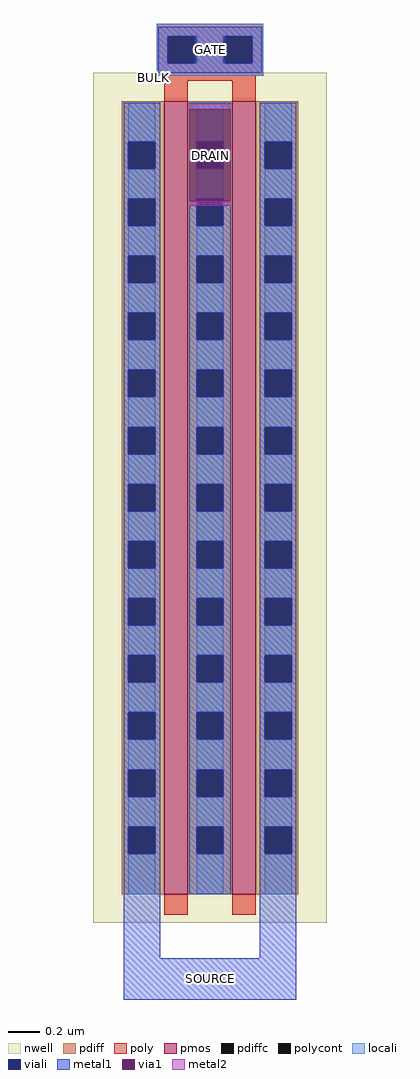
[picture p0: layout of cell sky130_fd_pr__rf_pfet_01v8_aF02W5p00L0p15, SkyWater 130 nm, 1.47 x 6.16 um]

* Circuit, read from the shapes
.subckt sky130_fd_pr__rf_pfet_01v8_aF02W5p00L0p15 BULK DRAIN GATE SOURCE
XM1 DRAIN GATE SOURCE BULK sky130_fd_pr__pfet_01v8 w=5 l=0.15 m=2
.ends

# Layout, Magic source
magic
tech sky130A
magscale 1 2
<< nwell >>
rect 0 0 294 1072
<< pmos >>
rect 89 36 119 1036
rect 175 36 205 1036
<< pdiff >>
rect 36 985 89 1036
rect 36 951 44 985
rect 78 951 89 985
rect 36 913 89 951
rect 36 879 44 913
rect 78 879 89 913
rect 36 841 89 879
rect 36 807 44 841
rect 78 807 89 841
rect 36 769 89 807
rect 36 735 44 769
rect 78 735 89 769
rect 36 697 89 735
rect 36 663 44 697
rect 78 663 89 697
rect 36 625 89 663
rect 36 591 44 625
rect 78 591 89 625
rect 36 553 89 591
rect 36 519 44 553
rect 78 519 89 553
rect 36 481 89 519
rect 36 447 44 481
rect 78 447 89 481
rect 36 409 89 447
rect 36 375 44 409
rect 78 375 89 409
rect 36 337 89 375
rect 36 303 44 337
rect 78 303 89 337
rect 36 265 89 303
rect 36 231 44 265
rect 78 231 89 265
rect 36 193 89 231
rect 36 159 44 193
rect 78 159 89 193
rect 36 121 89 159
rect 36 87 44 121
rect 78 87 89 121
rect 36 36 89 87
rect 119 985 175 1036
rect 119 951 130 985
rect 164 951 175 985
rect 119 913 175 951
rect 119 879 130 913
rect 164 879 175 913
rect 119 841 175 879
rect 119 807 130 841
rect 164 807 175 841
rect 119 769 175 807
rect 119 735 130 769
rect 164 735 175 769
rect 119 697 175 735
rect 119 663 130 697
rect 164 663 175 697
rect 119 625 175 663
rect 119 591 130 625
rect 164 591 175 625
rect 119 553 175 591
rect 119 519 130 553
rect 164 519 175 553
rect 119 481 175 519
rect 119 447 130 481
rect 164 447 175 481
rect 119 409 175 447
rect 119 375 130 409
rect 164 375 175 409
rect 119 337 175 375
rect 119 303 130 337
rect 164 303 175 337
rect 119 265 175 303
rect 119 231 130 265
rect 164 231 175 265
rect 119 193 175 231
rect 119 159 130 193
rect 164 159 175 193
rect 119 121 175 159
rect 119 87 130 121
rect 164 87 175 121
rect 119 36 175 87
rect 205 985 258 1036
rect 205 951 216 985
rect 250 951 258 985
rect 205 913 258 951
rect 205 879 216 913
rect 250 879 258 913
rect 205 841 258 879
rect 205 807 216 841
rect 250 807 258 841
rect 205 769 258 807
rect 205 735 216 769
rect 250 735 258 769
rect 205 697 258 735
rect 205 663 216 697
rect 250 663 258 697
rect 205 625 258 663
rect 205 591 216 625
rect 250 591 258 625
rect 205 553 258 591
rect 205 519 216 553
rect 250 519 258 553
rect 205 481 258 519
rect 205 447 216 481
rect 250 447 258 481
rect 205 409 258 447
rect 205 375 216 409
rect 250 375 258 409
rect 205 337 258 375
rect 205 303 216 337
rect 250 303 258 337
rect 205 265 258 303
rect 205 231 216 265
rect 250 231 258 265
rect 205 193 258 231
rect 205 159 216 193
rect 250 159 258 193
rect 205 121 258 159
rect 205 87 216 121
rect 250 87 258 121
rect 205 36 258 87
<< pdiffc >>
rect 44 951 78 985
rect 44 879 78 913
rect 44 807 78 841
rect 44 735 78 769
rect 44 663 78 697
rect 44 591 78 625
rect 44 519 78 553
rect 44 447 78 481
rect 44 375 78 409
rect 44 303 78 337
rect 44 231 78 265
rect 44 159 78 193
rect 44 87 78 121
rect 130 951 164 985
rect 130 879 164 913
rect 130 807 164 841
rect 130 735 164 769
rect 130 663 164 697
rect 130 591 164 625
rect 130 519 164 553
rect 130 447 164 481
rect 130 375 164 409
rect 130 303 164 337
rect 130 231 164 265
rect 130 159 164 193
rect 130 87 164 121
rect 216 951 250 985
rect 216 879 250 913
rect 216 807 250 841
rect 216 735 250 769
rect 216 663 250 697
rect 216 591 250 625
rect 216 519 250 553
rect 216 447 250 481
rect 216 375 250 409
rect 216 303 250 337
rect 216 231 250 265
rect 216 159 250 193
rect 216 87 250 121
<< poly >>
rect 80 1118 214 1134
rect 80 1084 96 1118
rect 130 1084 164 1118
rect 198 1084 214 1118
rect 80 1068 214 1084
rect 89 1062 205 1068
rect 89 1036 119 1062
rect 175 1036 205 1062
rect 89 10 119 36
rect 175 10 205 36
<< polycont >>
rect 96 1084 130 1118
rect 164 1084 198 1118
<< locali >>
rect 80 1118 214 1134
rect 80 1084 94 1118
rect 130 1084 164 1118
rect 200 1084 214 1118
rect 80 1068 214 1084
rect 44 985 78 1034
rect 44 913 78 951
rect 44 841 78 879
rect 44 769 78 807
rect 44 697 78 735
rect 44 625 78 663
rect 44 553 78 591
rect 44 481 78 519
rect 44 409 78 447
rect 44 337 78 375
rect 44 265 78 303
rect 44 193 78 231
rect 44 121 78 159
rect 44 36 78 87
rect 130 985 164 1034
rect 130 913 164 951
rect 130 841 164 879
rect 130 769 164 807
rect 130 697 164 735
rect 130 625 164 663
rect 130 553 164 591
rect 130 481 164 519
rect 130 409 164 447
rect 130 337 164 375
rect 130 265 164 303
rect 130 193 164 231
rect 130 121 164 159
rect 130 36 164 87
rect 216 985 250 1034
rect 216 913 250 951
rect 216 841 250 879
rect 216 769 250 807
rect 216 697 250 735
rect 216 625 250 663
rect 216 553 250 591
rect 216 481 250 519
rect 216 409 250 447
rect 216 337 250 375
rect 216 265 250 303
rect 216 193 250 231
rect 216 121 250 159
rect 216 36 250 87
<< viali >>
rect 94 1084 96 1118
rect 96 1084 128 1118
rect 166 1084 198 1118
rect 198 1084 200 1118
rect 44 951 78 985
rect 44 879 78 913
rect 44 807 78 841
rect 44 735 78 769
rect 44 663 78 697
rect 44 591 78 625
rect 44 519 78 553
rect 44 447 78 481
rect 44 375 78 409
rect 44 303 78 337
rect 44 231 78 265
rect 44 159 78 193
rect 44 87 78 121
rect 130 951 164 985
rect 130 879 164 913
rect 130 807 164 841
rect 130 735 164 769
rect 130 663 164 697
rect 130 591 164 625
rect 130 519 164 553
rect 130 447 164 481
rect 130 375 164 409
rect 130 303 164 337
rect 130 231 164 265
rect 130 159 164 193
rect 130 87 164 121
rect 216 951 250 985
rect 216 879 250 913
rect 216 807 250 841
rect 216 735 250 769
rect 216 663 250 697
rect 216 591 250 625
rect 216 519 250 553
rect 216 447 250 481
rect 216 375 250 409
rect 216 303 250 337
rect 216 231 250 265
rect 216 159 250 193
rect 216 87 250 121
<< metal1 >>
rect 82 1118 212 1130
rect 82 1084 94 1118
rect 128 1084 166 1118
rect 200 1084 212 1118
rect 82 1072 212 1084
rect 38 985 84 1034
rect 38 951 44 985
rect 78 951 84 985
rect 38 913 84 951
rect 38 879 44 913
rect 78 879 84 913
rect 38 841 84 879
rect 38 807 44 841
rect 78 807 84 841
rect 38 769 84 807
rect 38 735 44 769
rect 78 735 84 769
rect 38 697 84 735
rect 38 663 44 697
rect 78 663 84 697
rect 38 625 84 663
rect 38 591 44 625
rect 78 591 84 625
rect 38 553 84 591
rect 38 519 44 553
rect 78 519 84 553
rect 38 481 84 519
rect 38 447 44 481
rect 78 447 84 481
rect 38 409 84 447
rect 38 375 44 409
rect 78 375 84 409
rect 38 337 84 375
rect 38 303 44 337
rect 78 303 84 337
rect 38 265 84 303
rect 38 231 44 265
rect 78 231 84 265
rect 38 193 84 231
rect 38 159 44 193
rect 78 159 84 193
rect 38 121 84 159
rect 38 87 44 121
rect 78 87 84 121
rect 38 -45 84 87
rect 121 1026 173 1034
rect 121 962 130 974
rect 164 962 173 974
rect 121 879 130 910
rect 164 879 173 910
rect 121 841 173 879
rect 121 807 130 841
rect 164 807 173 841
rect 121 769 173 807
rect 121 735 130 769
rect 164 735 173 769
rect 121 697 173 735
rect 121 663 130 697
rect 164 663 173 697
rect 121 625 173 663
rect 121 591 130 625
rect 164 591 173 625
rect 121 553 173 591
rect 121 519 130 553
rect 164 519 173 553
rect 121 481 173 519
rect 121 447 130 481
rect 164 447 173 481
rect 121 409 173 447
rect 121 375 130 409
rect 164 375 173 409
rect 121 337 173 375
rect 121 303 130 337
rect 164 303 173 337
rect 121 265 173 303
rect 121 231 130 265
rect 164 231 173 265
rect 121 193 173 231
rect 121 159 130 193
rect 164 159 173 193
rect 121 121 173 159
rect 121 87 130 121
rect 164 87 173 121
rect 121 36 173 87
rect 210 985 256 1034
rect 210 951 216 985
rect 250 951 256 985
rect 210 913 256 951
rect 210 879 216 913
rect 250 879 256 913
rect 210 841 256 879
rect 210 807 216 841
rect 250 807 256 841
rect 210 769 256 807
rect 210 735 216 769
rect 250 735 256 769
rect 210 697 256 735
rect 210 663 216 697
rect 250 663 256 697
rect 210 625 256 663
rect 210 591 216 625
rect 250 591 256 625
rect 210 553 256 591
rect 210 519 216 553
rect 250 519 256 553
rect 210 481 256 519
rect 210 447 216 481
rect 250 447 256 481
rect 210 409 256 447
rect 210 375 216 409
rect 250 375 256 409
rect 210 337 256 375
rect 210 303 216 337
rect 250 303 256 337
rect 210 265 256 303
rect 210 231 216 265
rect 250 231 256 265
rect 210 193 256 231
rect 210 159 216 193
rect 250 159 256 193
rect 210 121 256 159
rect 210 87 216 121
rect 250 87 256 121
rect 210 -45 256 87
rect 38 -97 256 -45
<< via1 >>
rect 121 985 173 1026
rect 121 974 130 985
rect 130 974 164 985
rect 164 974 173 985
rect 121 951 130 962
rect 130 951 164 962
rect 164 951 173 962
rect 121 913 173 951
rect 121 910 130 913
rect 130 910 164 913
rect 164 910 173 913
<< metal2 >>
rect 121 1026 173 1032
rect 121 962 173 974
rect 121 904 173 910
<< labels >>
flabel metal2 s 121 904 173 1032 0 FreeSans 400 0 0 0 DRAIN
port 2 nsew
flabel metal1 s 38 -97 256 -45 0 FreeSans 400 0 0 0 SOURCE
port 4 nsew
flabel metal1 s 82 1072 212 1130 0 FreeSans 400 0 0 0 GATE
port 3 nsew
flabel nwell s 74 1063 78 1070 0 FreeSans 400 0 0 0 BULK
port 1 nsew
<< properties >>
string GDS_FILE $PDKPATH/libs.ref/sky130_fd_pr/gds/sky130_fd_pr.gds
string GDS_END 9170184
string GDS_START 9161748
string path 1.525 25.850 1.525 -2.425 
<< end >>
